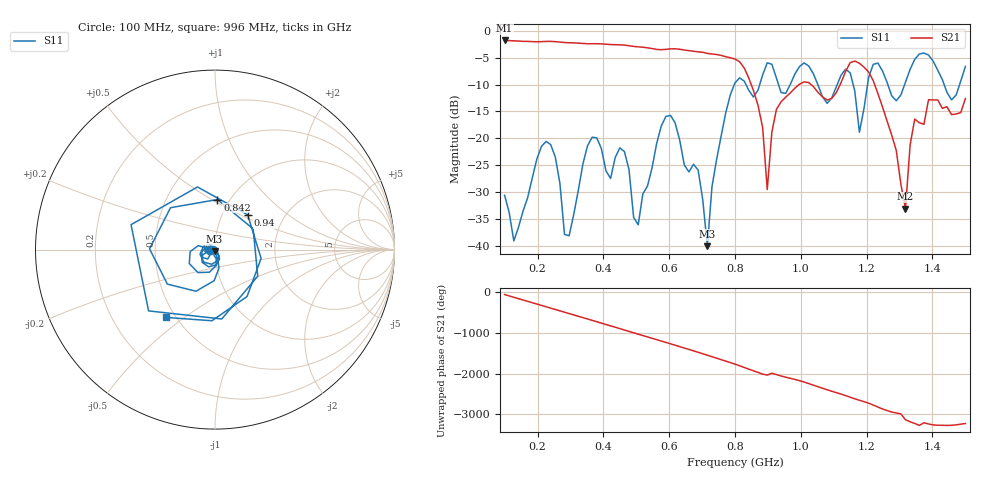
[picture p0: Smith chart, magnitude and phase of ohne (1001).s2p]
! NanoVNA-App
! Date: 2025-09-25 14:28:35
! Start: 100MHz Stop: 1,5GHz Points: 101
! S-Parameter data: F S11 S21 S12 S22
# Hz S RI R 50
!  Frequency  S11_Real  S11_Imag  S21_Real  S21_Imag  S12_Real  S12_Imag  S22_Real  S22_Imag
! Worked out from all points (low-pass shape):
!   101 points, 100 MHz to 1.5 GHz, reference 50 ohm
!   highest |S21| = -1.79 dB at 100 MHz (marker M1); lowest = -33.1 dB at 1.318 GHz (marker M2)
!   |S21| within 3 dB of the highest: start of sweep to 770.4 MHz
!   lowest |S11| = -40.1 dB at 716 MHz (marker M3), VSWR 1.02, Z = 49.8 - j0.954 ohm
!   |S11| at or under -10 dB: start of sweep to 798 MHz; 833.2 MHz to 875.2 MHz (41.95 MHz wide, 4.91 % of centre); 1.052 GHz to 1.111 GHz (59.13 MHz wide, 5.47 % of centre) (the widest 3 of 7)
!   S12 and S22 are empty: the file has one direction only
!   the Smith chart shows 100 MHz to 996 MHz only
!   S11 on the Smith chart (normalised r, x): 100 MHz: 0.94, -0.01; 842 MHz: 0.88, +0.53; 940 MHz: 1.31, +0.55; 996 MHz: 0.45, -0.43
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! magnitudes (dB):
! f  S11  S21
! 100 MHz  -30.6  -1.8
! 128 MHz  -39.1  -1.9
! 226 MHz  -20.6  -2.0
! 296 MHz  -38.2  -2.2
! 338 MHz  -24.8  -2.4
! 464 MHz  -22.5  -2.7
! 506 MHz  -36.1  -3.0
! 576 MHz  -17.7  -3.5
! 688 MHz  -25.9  -3.9
! 716 MHz  -40.1  -4.2
! 800 MHz  -9.7  -5.3
! 842 MHz  -11.1  -8.8
! 898 MHz  -6.0  -29.6
! 940 MHz  -11.5  -13.2
! 996 MHz  -6.7  -9.9
! 1.038 GHz  -8.0  -10.4
! 1.178 GHz  -18.9  -6.0
! 1.22 GHz  -6.2  -9.3
! 1.276 GHz  -12.1  -19.4
! 1.318 GHz  -9.6  -33.1
! 1.346 GHz  -5.3  -16.4
! 1.5 GHz  -6.6  -12.6
